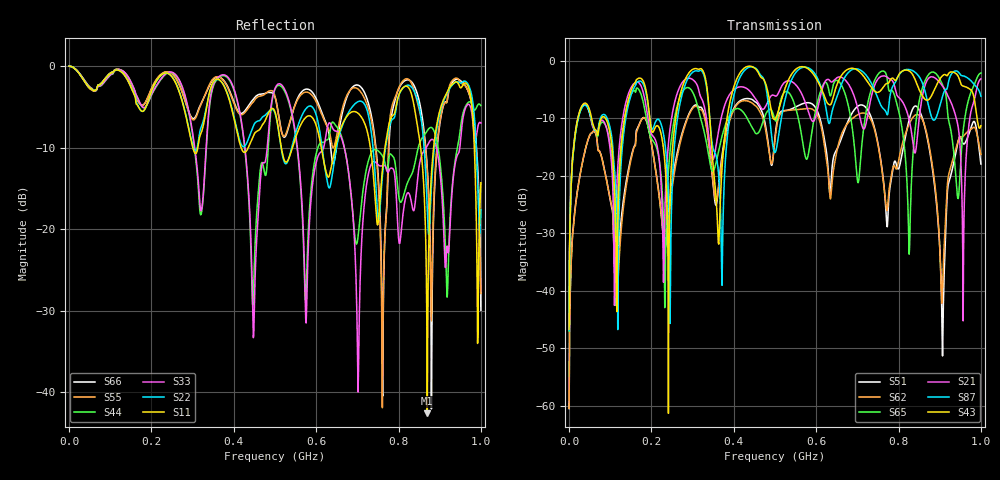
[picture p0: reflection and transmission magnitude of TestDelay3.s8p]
!Agilent Technologies,M9370A,MY54322275,A.02.50.04
!Agilent M9370A: A.02.50.04
!Date: Monday, April 02, 2018 17:28:27
!Correction: S11(Full 8 Port(1,2,3,4,5,6,7,8))
!S12(Full 8 Port(1,2,3,4,5,6,7,8))
!S13(Full 8 Port(1,2,3,4,5,6,7,8))
!S14(Full 8 Port(1,2,3,4,5,6,7,8))
!S15(Full 8 Port(1,2,3,4,5,6,7,8))
!S16(Full 8 Port(1,2,3,4,5,6,7,8))
!S17(Full 8 Port(1,2,3,4,5,6,7,8))
!S18(Full 8 Port(1,2,3,4,5,6,7,8))
!S21(Full 8 Port(1,2,3,4,5,6,7,8))
!S22(Full 8 Port(1,2,3,4,5,6,7,8))
!S23(Full 8 Port(1,2,3,4,5,6,7,8))
!S24(Full 8 Port(1,2,3,4,5,6,7,8))
!S25(Full 8 Port(1,2,3,4,5,6,7,8))
!S26(Full 8 Port(1,2,3,4,5,6,7,8))
!S27(Full 8 Port(1,2,3,4,5,6,7,8))
!S28(Full 8 Port(1,2,3,4,5,6,7,8))
!S31(Full 8 Port(1,2,3,4,5,6,7,8))
!S32(Full 8 Port(1,2,3,4,5,6,7,8))
!S33(Full 8 Port(1,2,3,4,5,6,7,8))
!S34(Full 8 Port(1,2,3,4,5,6,7,8))
!S35(Full 8 Port(1,2,3,4,5,6,7,8))
!S36(Full 8 Port(1,2,3,4,5,6,7,8))
!S37(Full 8 Port(1,2,3,4,5,6,7,8))
!S38(Full 8 Port(1,2,3,4,5,6,7,8))
!S41(Full 8 Port(1,2,3,4,5,6,7,8))
!S42(Full 8 Port(1,2,3,4,5,6,7,8))
!S43(Full 8 Port(1,2,3,4,5,6,7,8))
!S44(Full 8 Port(1,2,3,4,5,6,7,8))
!S45(Full 8 Port(1,2,3,4,5,6,7,8))
!S46(Full 8 Port(1,2,3,4,5,6,7,8))
!S47(Full 8 Port(1,2,3,4,5,6,7,8))
!S48(Full 8 Port(1,2,3,4,5,6,7,8))
!S51(Full 8 Port(1,2,3,4,5,6,7,8))
!S52(Full 8 Port(1,2,3,4,5,6,7,8))
!S53(Full 8 Port(1,2,3,4,5,6,7,8))
!S54(Full 8 Port(1,2,3,4,5,6,7,8))
!S55(Full 8 Port(1,2,3,4,5,6,7,8))
!S56(Full 8 Port(1,2,3,4,5,6,7,8))
!S57(Full 8 Port(1,2,3,4,5,6,7,8))
!S58(Full 8 Port(1,2,3,4,5,6,7,8))
!S61(Full 8 Port(1,2,3,4,5,6,7,8))
!S62(Full 8 Port(1,2,3,4,5,6,7,8))
!S63(Full 8 Port(1,2,3,4,5,6,7,8))
!S64(Full 8 Port(1,2,3,4,5,6,7,8))
!S65(Full 8 Port(1,2,3,4,5,6,7,8))
!S66(Full 8 Port(1,2,3,4,5,6,7,8))
!S67(Full 8 Port(1,2,3,4,5,6,7,8))
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# Hz S  RI  R 50
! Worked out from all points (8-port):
!   1000 points, 300 kHz to 1 GHz, reference 50 ohm
!   strongest paths, dB at 300 kHz, 250.5 MHz, 500.7 MHz, 750.8 MHz, 1 GHz:
!     S43: -46.7, -16.1, -10.1, -5.5, -11.3
!     S87: -46.9, -21.8, -15.9, -6.7, -6.2
!     S21: -46.6, -9.4, -6.1, -3.1, -3.2
!     S65: -47.1, -12.5, -10.4, -2.3, -2.1
!     S62: -60.4, -22.1, -13.4, -14.9, -16.3
!     S51: -60.5, -21.1, -13.0, -14.7, -18.0
!   lowest |S11| = -42.6 dB at 869.9 MHz (marker M1), VSWR 1.01, Z = 49.3 - j0.241 ohm
!   |S11| at or under -10 dB: 612.6 MHz to 646.5 MHz (33.9 MHz wide, 5.38 % of centre); 731.7 MHz to 767.2 MHz (35.42 MHz wide, 4.73 % of centre); 853.7 MHz to 885.2 MHz (31.45 MHz wide, 3.62 % of centre)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
